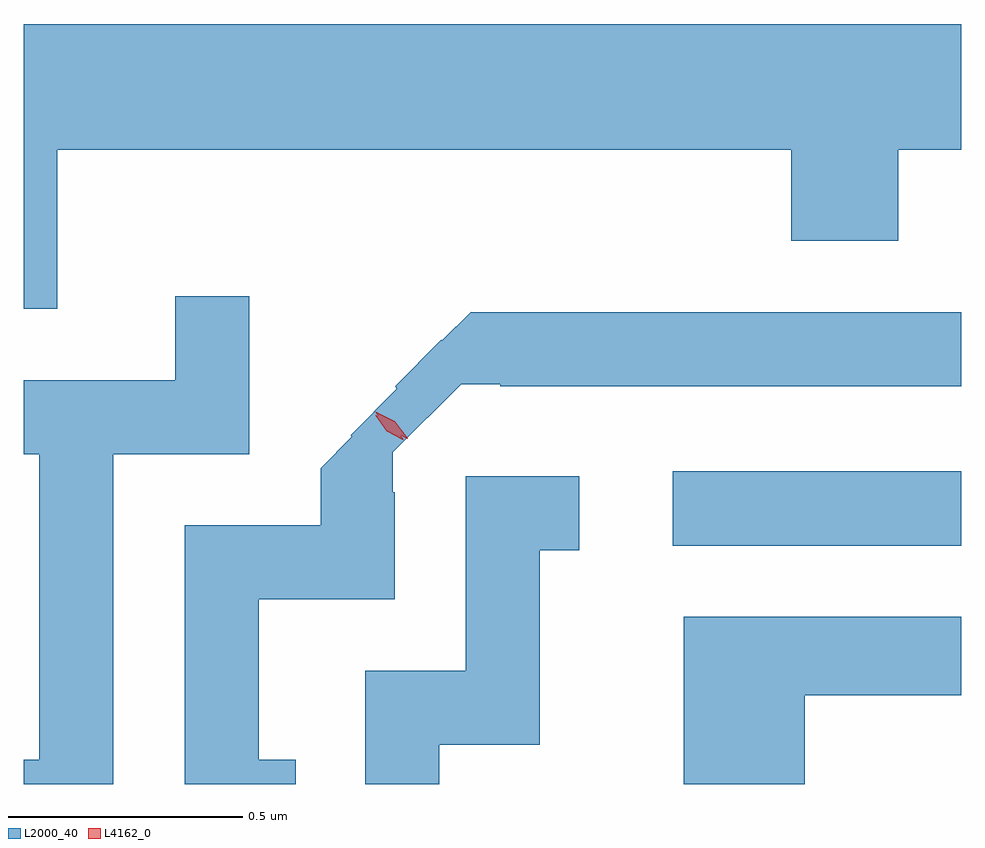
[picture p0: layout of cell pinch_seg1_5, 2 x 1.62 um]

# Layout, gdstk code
import gdstk
lib = gdstk.Library(unit=1e-6, precision=1e-09)
def R(c, l, rs):  # rectangles x0, y0, x1, y1
    for r in rs: c.add(gdstk.rectangle(r[:2], r[2:], *l))
def P(c, l, *ps):  # polygons
    for p in ps: c.add(gdstk.Polygon(p, *l))
L2000_40 = (2000, 40)
L4162_0 = (4162, 0)

pinch_seg1_5 = lib.new_cell('pinch_seg1_5')
R(pinch_seg1_5, L2000_40, [(1519.123,860.991,1519.738,861.149)])
P(pinch_seg1_5, L2000_40, [(1517.809,861.836),(1519.376,861.836),(1519.376,861.641),(1519.604,861.641),(1519.604,861.836),(1519.738,861.836),(1519.738,862.104),(1517.738,862.104),(1517.738,861.496),(1517.809,861.496)],
  [(1517.929,861.186),(1518.219,861.186),(1518.219,861.523),(1518.061,861.523),(1518.061,861.344),(1517.738,861.344),(1517.738,861.186),(1517.771,861.186),(1517.771,860.534),(1517.738,860.534),(1517.738,860.482),(1517.929,860.482)],
  [(1518.318,860.534),(1518.239,860.534),(1518.239,860.876),(1518.529,860.876),(1518.529,861.105),(1518.525,861.105),(1518.525,861.19),(1518.671,861.335),(1518.755,861.335),(1518.755,861.331),(1519.738,861.331),(1519.738,861.489),(1518.692,861.489),(1518.631,861.429),(1518.629,861.43),(1518.53,861.331),(1518.534,861.326),(1518.435,861.226),(1518.438,861.223),(1518.371,861.156),(1518.371,861.034),(1518.081,861.034),(1518.081,860.482),(1518.318,860.482)],
  [(1518.624,860.566),(1518.839,860.566),(1518.839,860.981),(1518.923,860.981),(1518.923,861.139),(1518.681,861.139),(1518.681,860.724),(1518.466,860.724),(1518.466,860.482),(1518.624,860.482)],
  [(1519.404,860.671),(1519.738,860.671),(1519.738,860.839),(1519.146,860.839),(1519.146,860.482),(1519.404,860.482)])
P(pinch_seg1_5, L4162_0, [(1518.546,861.217),(1518.512,861.235),(1518.489,861.268),(1518.489,861.269),(1518.49,861.269),(1518.525,861.25),(1518.547,861.218),(1518.547,861.217)],
  [(1518.556,861.219),(1518.516,861.24),(1518.488,861.276),(1518.488,861.276),(1518.489,861.276),(1518.529,861.256),(1518.557,861.22),(1518.557,861.219)])

lib.write_gds('pinch_seg1_5.gds')
